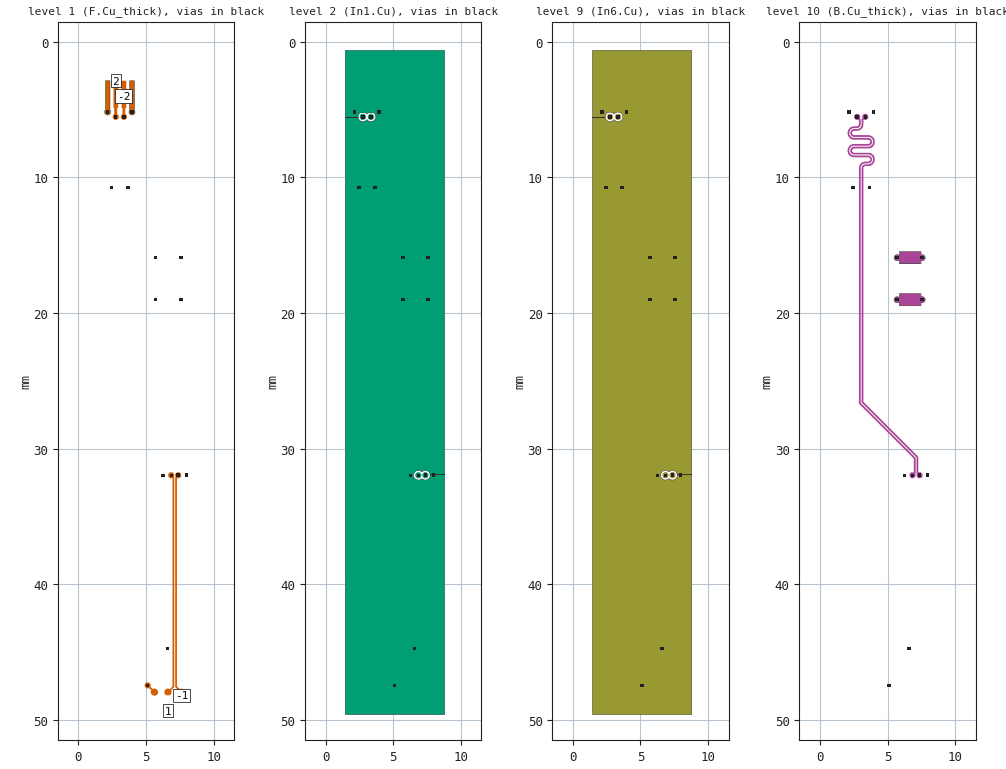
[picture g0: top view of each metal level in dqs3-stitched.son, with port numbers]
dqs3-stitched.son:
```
FTYP SONPROJ 19 ! Sonnet Project File
VER 18.52
HEADER
LIC antikernel2.1.51176
DAT 12/17/2021 13:26:47
BUILT_BY_CREATED dxf 18.52 12/14/2021 00:07:28
BUILT_BY_SAVED sonnet 18.52
MDATE 12/15/2021 14:07:33
HDATE 12/15/2021 14:07:33
ANN Created by dxfgeo, Sonnet Software Inc.
END HEADER
DIM
ANG DEG
CAP PF
CON /OH
FREQ GHZ
IND NH
LNG MM
RES OH
END DIM
CONTROL
VARSWP
OPTIONS  -dj
SPEED 1
CACHE_ABS 2
Q_ACC N
END CONTROL
GEO
TMET "Free Space" 0 FREESPACE 376.7303136 0 0 0
BMET "Free Space" 0 FREESPACE 376.7303136 0 0 0
MET "Copper_1oz_thin" 1 NOR 58000000 0.5 0.035 
MET "Copper_1oz_thick" 2 TMM 58000000 0.5 0.035 2
MET "Copper_0.5oz_thin" 4 NOR 58000000 0.5 0.017 
MET "Copper_0.5oz_thick" 12 TMM 58000000 0.5 0.017 2
MET "Copper_0.5oz_thick_down" 5 TMM 58000000 0.5 0.017 2 CDVY TDWN
MET "Copper_1oz_thick_down" 3 TMM 58000000 0.5 0.035 2 CDVY TDWN
BOX 12 10 50 800 4000 20 0
      5 1 1 0 0 0 0 "Air"
      0.04 3.5 1 0.025 0 0 0 "Soldermask"
      0.075 3.39 1 0.004 0 0 0 "Panasonic_R-5775(G)"
      0.068 3.56 1 0.004 0 0 0 "Panasonic_R-5670(G)"
      0.13 3.39 1 0.004 0 0 0 "Panasonic_R-5775(G)"
      0.092 3.56 1 0.004 0 0 0 "Panasonic_R-5670(G)"
      0.609 3.39 1 0.004 0 0 0 "Panasonic_R-5775(G)"
      0.092 3.56 1 0.004 0 0 0 "Panasonic_R-5670(G)"
      0.13 3.39 1 0.004 0 0 0 "Panasonic_R-5775(G)"
      0.068 3.56 1 0.004 0 0 0 "Panasonic_R-5670(G)"
      0.075 3.39 1 0.004 0 0 0 "Panasonic_R-5775(G)"
      0.04 3.5 1 0.025 0 0 0 "Soldermask"
      5 1 1 0 0 0 0 "Air"
TECHLAY METAL F.Cu_thick L1D0 -2 -65534 CAD F.Cu_thick drawing 
1 0 1 N 6583 1 1 100 100 0 0 0 Y
END
END
TECHLAY VIA Via1 L9D0 -13 -65534 CAD Via1 drawing 
VIA POLYGON
1 0 -1 N 6966 1 1 100 100 0 0 0 Y
TOLEVEL 10 RING NOCOVERS
END
END
TECHLAY METAL F.Cu_thin <UNSPECIFIED> -1 -65534 CAD F.Cu_thin drawing 
1 0 0 N 6587 1 1 100 100 0 0 0 Y
END
END
TECHLAY METAL In1.Cu L2D0 -3 -65534 CAD In1.Cu drawing 
2 0 0 N 6590 1 1 100 100 0 0 0 Y
END
END
TECHLAY METAL In2.Cu_thick L3D0 -5 -65534 CAD In2.Cu_thick drawing 
3 0 3 N 6593 1 1 100 100 0 0 0 Y
END
END
TECHLAY METAL In2.Cu_thin <UNSPECIFIED> -4 -65534 CAD In2.Cu drawing 
3 0 2 N 6595 1 1 100 100 0 0 0 Y
END
END
TECHLAY METAL In3.Cu L4D0 -6 -65534 CAD In3.Cu drawing 
4 0 0 N 6598 1 1 100 100 0 0 0 Y
END
END
TECHLAY METAL In4.Cu L5D0 -7 -65534 CAD In4.Cu drawing 
7 0 0 N 6603 1 1 100 100 0 0 0 Y
END
END
TECHLAY METAL In5.Cu_thick L6D0 -9 -65534 CAD In5.Cu_thick drawing 
8 0 4 N 6606 1 1 100 100 0 0 0 Y
END
END
TECHLAY METAL In5.Cu_thin <UNSPECIFIED> -8 -65534 CAD In5.Cu drawing 
8 0 2 N 6608 1 1 100 100 0 0 0 Y
END
END
TECHLAY METAL In6.Cu L7D0 -10 -65534 CAD In6.Cu drawing 
9 0 0 N 6611 1 1 100 100 0 0 0 Y
END
END
TECHLAY METAL B.Cu_thick L8D0 -12 -65534 CAD B.Cu_thick drawing 
10 0 5 N 6614 1 1 100 100 0 0 0 Y
END
END
TECHLAY METAL B.Cu_thin <UNSPECIFIED> -11 -65534 CAD B.Cu_thin drawing 
10 0 0 N 6616 1 1 100 100 0 0 0 Y
END
END
VALVAR CORE_ER NONE "table1(\"../../../../../ceph/fast/home/azonenberg/code/sata-sniffer/sims/core_er.csv\",FREQ)" "Variable set in material file"
VALVAR CORE_DF NONE "table1(\"../../../../../ceph/fast/home/azonenberg/code/sata-sniffer/sims/core_df.csv\",FREQ)" "Variable set in material file"
VALVAR PREPREG_DF NONE "table1(\"../../../../../ceph/fast/home/azonenberg/code/sata-sniffer/sims/prepreg_df.csv\",FREQ)" "Variable set in material file"
VALVAR PREPREG_ER NONE "table1(\"../../../../../ceph/fast/home/azonenberg/code/sata-sniffer/sims/prepreg_er.csv\",FREQ)" "Variable set in material file"
LORGN 0 50 U 
POR1 CUP Auto
GNDREF AUTO
TERMW FEED
POLY 87 1
30
2 80 0 0 0 2.752 2.868 
CUPGRP "Auto" LOCAL
ID 6962
END
POR1 CUP Auto
GNDREF AUTO
TERMW FEED
POLY 88 1
30
-2 80 0 0 0 3.352 2.868 
CUPGRP "Auto" LOCAL
ID 6963
END
POR1 CUP Auto
GNDREF AUTO
TERMW FEED
POLY 6874 1
124
-1 80 0 0 0 7.602 48.2 
CUPGRP "Auto" LOCAL
ID 6964
END
POR1 CUP Auto
GNDREF AUTO
TERMW FEED
POLY 6875 1
124
1 80 0 0 0 6.602 48.2 
CUPGRP "Auto" LOCAL
ID 6965
END
NUM 37
1 63 1 N 87 1 1 100 100 0 0 0 Y
TLAYNAM F.Cu_thick INH
USER_DAT FromImport
2.741 5.753
2.719 5.751
2.697 5.746
2.676 5.74
2.656 5.731
2.636 5.721
2.618 5.709
2.601 5.695
2.585 5.679
2.571 5.662
2.559 5.644
2.549 5.624
2.54 5.604
2.534 5.583
2.529 5.561
2.527 5.539
2.527 5.517
2.529 5.495
2.534 5.473
2.54 5.452
2.549 5.432
2.559 5.412
2.571 5.394
2.585 5.377
2.601 5.361
2.618 5.347
2.636 5.335
2.647 5.33
2.647 4.868
2.577 4.868
2.577 2.868
2.927 2.868
2.927 4.868
2.857 4.868
2.857 5.33
2.868 5.335
2.886 5.347
2.903 5.361
2.919 5.377
2.933 5.394
2.945 5.412
2.955 5.432
2.964 5.452
2.97 5.473
2.975 5.495
2.977 5.517
2.977 5.539
2.975 5.561
2.97 5.583
2.964 5.604
2.955 5.624
2.945 5.644
2.933 5.662
2.919 5.679
2.903 5.695
2.886 5.709
2.868 5.721
2.848 5.731
2.828 5.74
2.807 5.746
2.785 5.751
2.763 5.753
2.741 5.753
END
1 63 1 N 88 1 1 100 100 0 0 0 Y
TLAYNAM F.Cu_thick INH
USER_DAT FromImport
3.341 5.753
3.319 5.751
3.297 5.746
3.276 5.74
3.256 5.731
3.236 5.721
3.218 5.709
3.201 5.695
3.185 5.679
3.171 5.662
3.159 5.644
3.149 5.624
3.14 5.604
3.134 5.583
3.129 5.561
3.127 5.539
3.127 5.517
3.129 5.495
3.134 5.473
3.14 5.452
3.149 5.432
3.159 5.412
3.171 5.394
3.185 5.377
3.201 5.361
3.218 5.347
3.236 5.335
3.247 5.33
3.247 4.868
3.177 4.868
3.177 2.868
3.527 2.868
3.527 4.868
3.457 4.868
3.457 5.33
3.468 5.335
3.486 5.347
3.503 5.361
3.519 5.377
3.533 5.394
3.545 5.412
3.555 5.432
3.564 5.452
3.57 5.473
3.575 5.495
3.577 5.517
3.577 5.539
3.575 5.561
3.57 5.583
3.564 5.604
3.555 5.624
3.545 5.644
3.533 5.662
3.519 5.679
3.503 5.695
3.486 5.709
3.468 5.721
3.448 5.731
3.428 5.74
3.407 5.746
3.385 5.751
3.363 5.753
3.341 5.753
END
1 121 1 N 231 1 1 100 100 0 0 0 Y
TLAYNAM F.Cu_thick INH
USER_DAT FromImport
5.589 48.233
5.563 48.23
5.538 48.225
5.513 48.218
5.489 48.208
5.466 48.195
5.444 48.181
5.424 48.164
5.406 48.146
5.389 48.126
5.375 48.104
5.362 48.081
5.352 48.057
5.345 48.032
5.34 48.007
5.337 47.981
5.337 47.955
5.34 47.929
5.345 47.904
5.352 47.879
5.362 47.855
5.372 47.837
5.203 47.668
5.198 47.671
5.178 47.68
5.157 47.686
5.135 47.691
5.113 47.693
5.091 47.693
5.069 47.691
5.047 47.686
5.026 47.68
5.006 47.671
4.986 47.661
4.968 47.649
4.951 47.635
4.935 47.619
4.921 47.602
4.909 47.584
4.899 47.564
4.89 47.544
4.884 47.523
4.879 47.501
4.877 47.479
4.877 47.457
4.879 47.435
4.884 47.413
4.89 47.392
4.899 47.372
4.909 47.352
4.921 47.334
4.935 47.317
4.951 47.301
4.968 47.287
4.986 47.275
5.006 47.265
5.026 47.256
5.047 47.25
5.069 47.245
5.091 47.243
5.113 47.243
5.135 47.245
5.157 47.25
5.178 47.256
5.198 47.265
5.218 47.275
5.236 47.287
5.253 47.301
5.269 47.317
5.283 47.334
5.295 47.352
5.305 47.372
5.314 47.392
5.32 47.413
5.325 47.435
5.327 47.457
5.327 47.479
5.325 47.501
5.32 47.523
5.314 47.544
5.305 47.564
5.302 47.569
5.471 47.738
5.489 47.728
5.513 47.718
5.538 47.711
5.563 47.706
5.589 47.703
5.615 47.703
5.641 47.706
5.666 47.711
5.691 47.718
5.715 47.728
5.738 47.741
5.76 47.755
5.78 47.772
5.798 47.79
5.815 47.81
5.829 47.832
5.842 47.855
5.852 47.879
5.859 47.904
5.864 47.929
5.867 47.955
5.867 47.981
5.864 48.007
5.859 48.032
5.852 48.057
5.842 48.081
5.829 48.104
5.815 48.126
5.798 48.146
5.78 48.164
5.76 48.181
5.738 48.195
5.715 48.208
5.691 48.218
5.666 48.225
5.641 48.23
5.615 48.233
5.589 48.233
END
1 127 1 V 6874 1 1 100 100 0 0 0 Y
TLAYNAM F.Cu_thick NOH
USER_DAT FromImport
7.738 48.195
7.76 48.181
7.78 48.164
7.798 48.146
7.815 48.126
7.829 48.104
7.842 48.081
7.852 48.057
7.859 48.032
7.864 48.007
7.867 47.981
7.867 47.955
7.864 47.929
7.859 47.904
7.852 47.879
7.842 47.855
7.829 47.832
7.815 47.81
7.798 47.79
7.78 47.772
7.76 47.755
7.738 47.741
7.715 47.728
7.691 47.718
7.666 47.711
7.641 47.706
7.615 47.703
7.589 47.703
7.563 47.706
7.538 47.711
7.513 47.718
7.489 47.728
7.467 47.741
7.267 47.541
7.267 32.171
7.286 32.18
7.307 32.186
7.329 32.191
7.351 32.193
7.373 32.193
7.395 32.191
7.417 32.186
7.438 32.18
7.458 32.171
7.478 32.161
7.496 32.149
7.513 32.135
7.529 32.119
7.543 32.102
7.555 32.084
7.565 32.064
7.574 32.044
7.58 32.023
7.585 32.001
7.587 31.979
7.587 31.957
7.585 31.935
7.58 31.913
7.574 31.892
7.565 31.872
7.555 31.852
7.543 31.834
7.529 31.817
7.513 31.801
7.496 31.787
7.478 31.775
7.458 31.765
7.438 31.756
7.417 31.75
7.395 31.745
7.373 31.743
7.351 31.743
7.329 31.745
7.307 31.75
7.286 31.756
7.266 31.765
7.246 31.775
7.228 31.787
7.211 31.801
7.195 31.817
7.181 31.834
7.169 31.852
7.159 31.872
7.15 31.892
7.144 31.913
7.139 31.935
7.137 31.957
7.137 31.979
7.139 32.001
7.144 32.023
7.15 32.044
7.159 32.064
7.164 32.074
7.154 32.084
7.15 32.089
7.146 32.095
7.143 32.1
7.139 32.112
7.138 32.118
7.137 32.125
7.137 47.571
7.138 47.578
7.139 47.584
7.143 47.596
7.146 47.601
7.15 47.607
7.154 47.612
7.375 47.833
7.362 47.855
7.352 47.879
7.345 47.904
7.34 47.929
7.337 47.955
7.337 47.981
7.34 48.007
7.345 48.032
7.352 48.057
7.362 48.081
7.375 48.104
7.389 48.126
7.406 48.146
7.424 48.164
7.444 48.181
7.466 48.195
7.474846154 48.2
7.729153846 48.2
7.738 48.195
END
1 127 1 V 6875 1 1 100 100 0 0 0 Y
TLAYNAM F.Cu_thick NOH
USER_DAT FromImport
6.738 48.195
6.76 48.181
6.78 48.164
6.798 48.146
6.815 48.126
6.829 48.104
6.842 48.081
6.852 48.057
6.859 48.032
6.864 48.007
6.867 47.981
6.867 47.955
6.864 47.929
6.859 47.904
6.852 47.879
6.842 47.855
6.829 47.833
7.05 47.612
7.054 47.607
7.058 47.601
7.061 47.596
7.065 47.584
7.066 47.578
7.067 47.571
7.067 32.125
7.066 32.118
7.065 32.112
7.061 32.1
7.058 32.095
7.054 32.089
7.05 32.084
7.04 32.074
7.045 32.064
7.054 32.044
7.06 32.023
7.065 32.001
7.067 31.979
7.067 31.957
7.065 31.935
7.06 31.913
7.054 31.892
7.045 31.872
7.035 31.852
7.023 31.834
7.009 31.817
6.993 31.801
6.976 31.787
6.958 31.775
6.938 31.765
6.918 31.756
6.897 31.75
6.875 31.745
6.853 31.743
6.831 31.743
6.809 31.745
6.787 31.75
6.766 31.756
6.746 31.765
6.726 31.775
6.708 31.787
6.691 31.801
6.675 31.817
6.661 31.834
6.649 31.852
6.639 31.872
6.63 31.892
6.624 31.913
6.619 31.935
6.617 31.957
6.617 31.979
6.619 32.001
6.624 32.023
6.63 32.044
6.639 32.064
6.649 32.084
6.661 32.102
6.675 32.119
6.691 32.135
6.708 32.149
6.726 32.161
6.746 32.171
6.766 32.18
6.787 32.186
6.809 32.191
6.831 32.193
6.853 32.193
6.875 32.191
6.897 32.186
6.918 32.18
6.937 32.171
6.937 47.541
6.737 47.741
6.715 47.728
6.691 47.718
6.666 47.711
6.641 47.706
6.615 47.703
6.589 47.703
6.563 47.706
6.538 47.711
6.513 47.718
6.489 47.728
6.466 47.741
6.444 47.755
6.424 47.772
6.406 47.79
6.389 47.81
6.375 47.832
6.362 47.855
6.352 47.879
6.345 47.904
6.34 47.929
6.337 47.955
6.337 47.981
6.34 48.007
6.345 48.032
6.352 48.057
6.362 48.081
6.375 48.104
6.389 48.126
6.406 48.146
6.424 48.164
6.444 48.181
6.466 48.195
6.474846154 48.2
6.729153846 48.2
6.738 48.195
END
1 54 1 N 6914 1 1 100 100 0 0 0 Y
TLAYNAM F.Cu_thick INH
2.185 5.391
2.207 5.386
2.228 5.38
2.248 5.371
2.268 5.361
2.286 5.349
2.303 5.335
2.319 5.319
2.333 5.302
2.345 5.284
2.355 5.264
2.364 5.244
2.37 5.223
2.375 5.201
2.377 5.179
2.377 5.157
2.375 5.135
2.37 5.113
2.364 5.092
2.355 5.072
2.345 5.052
2.333 5.034
2.325 5.024285714
2.325 4.868
2.327 4.868
2.327 2.868
1.977 2.868
1.977 4.868
1.977 5.026714286
1.971 5.034
1.959 5.052
1.949 5.072
1.94 5.092
1.934 5.113
1.929 5.135
1.927 5.157
1.927 5.179
1.929 5.201
1.934 5.223
1.94 5.244
1.949 5.264
1.959 5.284
1.971 5.302
1.985 5.319
2.001 5.335
2.018 5.349
2.036 5.361
2.056 5.371
2.076 5.38
2.097 5.386
2.119 5.391
2.141 5.393
2.163 5.393
2.185 5.391
END
1 55 1 N 6916 1 1 100 100 0 0 0 Y
TLAYNAM F.Cu_thick INH
USER_DAT FromImport
3.985 5.391
4.007 5.386
4.028 5.38
4.048 5.371
4.068 5.361
4.086 5.349
4.103 5.335
4.119 5.319
4.133 5.302
4.145 5.284
4.155 5.264
4.164 5.244
4.17 5.223
4.175 5.201
4.177 5.179
4.177 5.157
4.175 5.135
4.17 5.113
4.164 5.092
4.155 5.072
4.145 5.052
4.133 5.034
4.125 5.024285714
4.125 4.868
4.127 4.868
4.127 2.868
3.777 2.868
3.777 4.775
3.775 4.775
3.775 5.029142857
3.771 5.034
3.759 5.052
3.749 5.072
3.74 5.092
3.734 5.113
3.729 5.135
3.727 5.157
3.727 5.179
3.729 5.201
3.734 5.223
3.74 5.244
3.749 5.264
3.759 5.284
3.771 5.302
3.785 5.319
3.801 5.335
3.818 5.349
3.836 5.361
3.856 5.371
3.876 5.38
3.897 5.386
3.919 5.391
3.941 5.393
3.963 5.393
3.985 5.391
END
VIA POLYGON
1 5 -1 N 5991 1 1 100 100 0 0 0 Y
TOLEVEL 10 RING NOCOVERS
TLAYNAM Via1 INH
USER_DAT FromImport
5.577 19.143
5.577 18.893
5.827 18.893
5.827 19.143
5.577 19.143
END
VIA POLYGON
1 5 -1 N 5992 1 1 100 100 0 0 0 Y
TOLEVEL 10 RING NOCOVERS
TLAYNAM Via1 INH
USER_DAT FromImport
7.427 19.143
7.427 18.893
7.677 18.893
7.677 19.143
7.427 19.143
END
VIA POLYGON
1 5 -1 N 5994 1 1 100 100 0 0 0 Y
TOLEVEL 10 RING NOCOVERS
TLAYNAM Via1 INH
USER_DAT FromImport
5.577 16.043
5.577 15.793
5.827 15.793
5.827 16.043
5.577 16.043
END
VIA POLYGON
1 5 -1 N 5995 1 1 100 100 0 0 0 Y
TOLEVEL 10 RING NOCOVERS
TLAYNAM Via1 INH
USER_DAT FromImport
7.427 16.043
7.427 15.793
7.677 15.793
7.677 16.043
7.427 16.043
END
VIA POLYGON
1 5 -1 N 6011 1 1 100 100 0 0 0 Y
TOLEVEL 10 RING NOCOVERS
TLAYNAM Via1 INH
USER_DAT FromImport
2.327 10.843
2.327 10.593
2.577 10.593
2.577 10.843
2.327 10.843
END
VIA POLYGON
1 5 -1 N 6012 1 1 100 100 0 0 0 Y
TOLEVEL 10 RING NOCOVERS
TLAYNAM Via1 INH
USER_DAT FromImport
3.527 10.843
3.527 10.593
3.777 10.593
3.777 10.843
3.527 10.843
END
VIA POLYGON
1 5 -1 N 6039 1 1 100 100 0 0 0 Y
TOLEVEL 10 RING NOCOVERS
TLAYNAM Via1 INH
USER_DAT FromImport
2.627 5.653
2.627 5.403
2.877 5.403
2.877 5.653
2.627 5.653
END
VIA POLYGON
1 5 -1 N 6040 1 1 100 100 0 0 0 Y
TOLEVEL 10 RING NOCOVERS
TLAYNAM Via1 INH
USER_DAT FromImport
3.227 5.653
3.227 5.403
3.477 5.403
3.477 5.653
3.227 5.653
END
VIA POLYGON
1 5 -1 N 6049 1 1 100 100 0 0 0 Y
TOLEVEL 10 RING NOCOVERS
TLAYNAM Via1 INH
USER_DAT FromImport
2.027 5.293
2.027 5.043
2.277 5.043
2.277 5.293
2.027 5.293
END
VIA POLYGON
1 5 -1 N 6050 1 1 100 100 0 0 0 Y
TOLEVEL 10 RING NOCOVERS
TLAYNAM Via1 INH
USER_DAT FromImport
3.827 5.293
3.827 5.043
4.077 5.043
4.077 5.293
3.827 5.293
END
VIA POLYGON
1 5 -1 N 6158 1 1 100 100 0 0 0 Y
TOLEVEL 10 RING NOCOVERS
TLAYNAM Via1 INH
USER_DAT FromImport
6.717 32.093
6.717 31.843
6.967 31.843
6.967 32.093
6.717 32.093
END
VIA POLYGON
1 5 -1 N 6159 1 1 100 100 0 0 0 Y
TOLEVEL 10 RING NOCOVERS
TLAYNAM Via1 INH
USER_DAT FromImport
7.837 32.068
7.837 31.818
8.087 31.818
8.087 32.068
7.837 32.068
END
VIA POLYGON
1 5 -1 N 6188 1 1 100 100 0 0 0 Y
TOLEVEL 10 RING NOCOVERS
TLAYNAM Via1 INH
USER_DAT FromImport
4.977 47.593
4.977 47.343
5.227 47.343
5.227 47.593
4.977 47.593
END
VIA POLYGON
1 5 -1 N 6876 1 1 100 100 0 0 0 Y
TOLEVEL 10 RING NOCOVERS
TLAYNAM Via1 INH
USER_DAT FromImport
6.45 44.875
6.45 44.625
6.7 44.625
6.7 44.875
6.45 44.875
END
VIA POLYGON
1 5 -1 N 6971 1 1 100 100 0 0 0 Y
TOLEVEL 10 RING NOCOVERS
TLAYNAM Via1 INH
USER_DAT FromImport
7.225 32.075
7.225 31.825
7.475 31.825
7.475 32.075
7.225 32.075
END
VIA POLYGON
1 5 -1 N 6972 1 1 100 100 0 0 0 Y
TOLEVEL 10 RING NOCOVERS
TLAYNAM Via1 INH
USER_DAT FromImport
6.125 32.1
6.125 31.85
6.375 31.85
6.375 32.1
6.125 32.1
END
2 65 0 N 1463 1 1 100 100 0 0 0 Y
TLAYNAM In1.Cu INH
USER_DAT FromImport
6.831 32.193
6.809 32.191
6.787 32.186
6.766 32.18
6.746 32.171
6.726 32.161
6.708 32.149
6.691 32.135
6.675 32.119
6.661 32.102
6.649 32.084
6.639 32.064
6.63 32.044
6.624 32.023
6.619 32.001
6.617 31.979
6.617 31.957
6.619 31.935
6.624 31.913
6.63 31.892
6.639 31.872
6.649 31.852
6.661 31.834
6.675 31.817
6.691 31.801
6.708 31.787
6.726 31.775
6.746 31.765
6.766 31.756
6.787 31.75
6.809 31.745
6.831 31.743
6.853 31.743
6.875 31.745
6.897 31.75
6.918 31.756
6.938 31.765
6.958 31.775
6.976 31.787
6.993 31.801
7.009 31.817
7.023 31.834
7.035 31.852
7.045 31.872
7.054 31.892
7.06 31.913
7.065 31.935
7.067 31.957
7.067 31.979
7.065 32.001
7.06 32.023
7.054 32.044
7.045 32.064
7.035 32.084
7.023 32.102
7.009 32.119
6.993 32.135
6.976 32.149
6.958 32.161
6.938 32.171
6.918 32.18
6.897 32.186
6.875 32.191
6.853 32.193
6.831 32.193
END
2 65 0 N 1464 1 1 100 100 0 0 0 Y
TLAYNAM In1.Cu INH
USER_DAT FromImport
7.351 32.193
7.329 32.191
7.307 32.186
7.286 32.18
7.266 32.171
7.246 32.161
7.228 32.149
7.211 32.135
7.195 32.119
7.181 32.102
7.169 32.084
7.159 32.064
7.15 32.044
7.144 32.023
7.139 32.001
7.137 31.979
7.137 31.957
7.139 31.935
7.144 31.913
7.15 31.892
7.159 31.872
7.169 31.852
7.181 31.834
7.195 31.817
7.211 31.801
7.228 31.787
7.246 31.775
7.266 31.765
7.286 31.756
7.307 31.75
7.329 31.745
7.351 31.743
7.373 31.743
7.395 31.745
7.417 31.75
7.438 31.756
7.458 31.765
7.478 31.775
7.496 31.787
7.513 31.801
7.529 31.817
7.543 31.834
7.555 31.852
7.565 31.872
7.574 31.892
7.58 31.913
7.585 31.935
7.587 31.957
7.587 31.979
7.585 32.001
7.58 32.023
7.574 32.044
7.565 32.064
7.555 32.084
7.543 32.102
7.529 32.119
7.513 32.135
7.496 32.149
7.478 32.161
7.458 32.171
7.438 32.18
7.417 32.186
7.395 32.191
7.373 32.193
7.351 32.193
END
2 65 0 N 1519 1 1 100 100 0 0 0 Y
TLAYNAM In1.Cu INH
USER_DAT FromImport
2.741 5.753
2.719 5.751
2.697 5.746
2.676 5.74
2.656 5.731
2.636 5.721
2.618 5.709
2.601 5.695
2.585 5.679
2.571 5.662
2.559 5.644
2.549 5.624
2.54 5.604
2.534 5.583
2.529 5.561
2.527 5.539
2.527 5.517
2.529 5.495
2.534 5.473
2.54 5.452
2.549 5.432
2.559 5.412
2.571 5.394
2.585 5.377
2.601 5.361
2.618 5.347
2.636 5.335
2.656 5.325
2.676 5.316
2.697 5.31
2.719 5.305
2.741 5.303
2.763 5.303
2.785 5.305
2.807 5.31
2.828 5.316
2.848 5.325
2.868 5.335
2.886 5.347
2.903 5.361
2.919 5.377
2.933 5.394
2.945 5.412
2.955 5.432
2.964 5.452
2.97 5.473
2.975 5.495
2.977 5.517
2.977 5.539
2.975 5.561
2.97 5.583
2.964 5.604
2.955 5.624
2.945 5.644
2.933 5.662
2.919 5.679
2.903 5.695
2.886 5.709
2.868 5.721
2.848 5.731
2.828 5.74
2.807 5.746
2.785 5.751
2.763 5.753
2.741 5.753
END
2 65 0 N 1520 1 1 100 100 0 0 0 Y
TLAYNAM In1.Cu INH
USER_DAT FromImport
3.341 5.753
3.319 5.751
3.297 5.746
3.276 5.74
3.256 5.731
3.236 5.721
3.218 5.709
3.201 5.695
3.185 5.679
3.171 5.662
3.159 5.644
3.149 5.624
3.14 5.604
3.134 5.583
3.129 5.561
3.127 5.539
3.127 5.517
3.129 5.495
3.134 5.473
3.14 5.452
3.149 5.432
3.159 5.412
3.171 5.394
3.185 5.377
3.201 5.361
3.218 5.347
3.236 5.335
3.256 5.325
3.276 5.316
3.297 5.31
3.319 5.305
3.341 5.303
3.363 5.303
3.385 5.305
3.407 5.31
3.428 5.316
3.448 5.325
3.468 5.335
3.486 5.347
3.503 5.361
3.519 5.377
3.533 5.394
3.545 5.412
3.555 5.432
3.564 5.452
3.57 5.473
3.575 5.495
3.577 5.517
3.577 5.539
3.575 5.561
3.57 5.583
3.564 5.604
3.555 5.624
3.545 5.644
3.533 5.662
3.519 5.679
3.503 5.695
3.486 5.709
3.468 5.721
3.448 5.731
3.428 5.74
3.407 5.746
3.385 5.751
3.363 5.753
3.341 5.753
END
2 178 0 N 6881 1 1 100 100 0 0 0 Y
TLAYNAM In1.Cu INH
USER_DAT FromImport
8.7835 0.6245
1.4585 0.6245
1.4585 5.56
2.402 5.56
2.402 5.49
2.415 5.429
2.445 5.357
2.445 5.356
2.48 5.305
2.526 5.259
2.565 5.233
2.941 5.233
2.975 5.256
3.018 5.299
3.026 5.305
3.031 5.307
3.035 5.309
3.04 5.311
3.045 5.312
3.059 5.312
3.064 5.311
3.069 5.309
3.073 5.307
3.078 5.305
3.086 5.299
3.126 5.259
3.165 5.233
3.541 5.233
3.575 5.256
3.621 5.302
3.666 5.368
3.666 5.369
3.687 5.419
3.687 5.421
3.702 5.496
3.702 5.566
3.689 5.627
3.659 5.699
3.659 5.7
3.624 5.751
3.578 5.797
3.512 5.842
3.511 5.842
3.461 5.863
3.459 5.863
3.384 5.878
3.314 5.878
3.253 5.865
3.181 5.835
3.18 5.835
3.129 5.8
3.086 5.757
3.078 5.751
3.073 5.749
3.069 5.747
3.064 5.745
3.059 5.744
3.045 5.744
3.04 5.745
3.035 5.747
3.031 5.749
3.026 5.751
3.018 5.757
2.978 5.797
2.912 5.842
2.911 5.842
2.861 5.863
2.859 5.863
2.784 5.878
2.714 5.878
2.653 5.865
2.581 5.835
2.58 5.835
2.529 5.8
2.483 5.754
2.438 5.688
2.438 5.687
2.417 5.637
2.417 5.635
2.402 5.56
1.4585 5.56
1.4585 5.56
1.4585 49.6245
8.7835 49.6245
8.7835 31.936
7.712 31.936
7.712 32.006
7.699 32.067
7.669 32.139
7.669 32.14
7.634 32.191
7.588 32.237
7.522 32.282
7.521 32.282
7.471 32.303
7.469 32.303
7.394 32.318
7.324 32.318
7.263 32.305
7.191 32.275
7.19 32.275
7.139 32.24
7.136 32.237
7.128 32.231
7.123 32.229
7.119 32.227
7.114 32.225
7.109 32.224
7.095 32.224
7.09 32.225
7.085 32.227
7.081 32.229
7.076 32.231
7.068 32.237
7.002 32.282
7.001 32.282
6.951 32.303
6.949 32.303
6.874 32.318
6.804 32.318
6.743 32.305
6.671 32.275
6.67 32.275
6.619 32.24
6.573 32.194
6.528 32.128
6.528 32.127
6.507 32.077
6.507 32.075
6.492 32
6.492 31.93
6.505 31.869
6.535 31.797
6.535 31.796
6.57 31.745
6.616 31.699
6.682 31.654
6.683 31.654
6.733 31.633
6.735 31.633
6.81 31.618
6.88 31.618
6.941 31.631
7.013 31.661
7.014 31.661
7.065 31.696
7.068 31.699
7.076 31.705
7.081 31.707
7.085 31.709
7.09 31.711
7.095 31.712
7.109 31.712
7.114 31.711
7.119 31.709
7.123 31.707
7.128 31.705
7.136 31.699
7.202 31.654
7.203 31.654
7.253 31.633
7.255 31.633
7.33 31.618
7.4 31.618
7.461 31.631
7.533 31.661
7.534 31.661
7.585 31.696
7.631 31.742
7.674 31.805
7.675 31.807
7.676 31.808
7.676 31.809
7.697 31.859
7.697 31.861
7.712 31.936
8.7835 31.936
8.7835 0.6245
END
9 65 0 N 5536 1 1 100 100 0 0 0 Y
TLAYNAM In6.Cu INH
USER_DAT FromImport
6.831 32.193
6.809 32.191
6.787 32.186
6.766 32.18
6.746 32.171
6.726 32.161
6.708 32.149
6.691 32.135
6.675 32.119
6.661 32.102
6.649 32.084
6.639 32.064
6.63 32.044
6.624 32.023
6.619 32.001
6.617 31.979
6.617 31.957
6.619 31.935
6.624 31.913
6.63 31.892
6.639 31.872
6.649 31.852
6.661 31.834
6.675 31.817
6.691 31.801
6.708 31.787
6.726 31.775
6.746 31.765
6.766 31.756
6.787 31.75
6.809 31.745
6.831 31.743
6.853 31.743
6.875 31.745
6.897 31.75
6.918 31.756
6.938 31.765
6.958 31.775
6.976 31.787
6.993 31.801
7.009 31.817
7.023 31.834
7.035 31.852
7.045 31.872
7.054 31.892
7.06 31.913
7.065 31.935
7.067 31.957
7.067 31.979
7.065 32.001
7.06 32.023
7.054 32.044
7.045 32.064
7.035 32.084
7.023 32.102
7.009 32.119
6.993 32.135
6.976 32.149
6.958 32.161
6.938 32.171
6.918 32.18
6.897 32.186
6.875 32.191
6.853 32.193
6.831 32.193
END
9 65 0 N 5537 1 1 100 100 0 0 0 Y
TLAYNAM In6.Cu INH
USER_DAT FromImport
7.351 32.193
7.329 32.191
7.307 32.186
7.286 32.18
7.266 32.171
7.246 32.161
7.228 32.149
7.211 32.135
7.195 32.119
7.181 32.102
7.169 32.084
7.159 32.064
7.15 32.044
7.144 32.023
7.139 32.001
7.137 31.979
7.137 31.957
7.139 31.935
7.144 31.913
7.15 31.892
7.159 31.872
7.169 31.852
7.181 31.834
7.195 31.817
7.211 31.801
7.228 31.787
7.246 31.775
7.266 31.765
7.286 31.756
7.307 31.75
7.329 31.745
7.351 31.743
7.373 31.743
7.395 31.745
7.417 31.75
7.438 31.756
7.458 31.765
7.478 31.775
7.496 31.787
7.513 31.801
7.529 31.817
7.543 31.834
7.555 31.852
7.565 31.872
7.574 31.892
7.58 31.913
7.585 31.935
7.587 31.957
7.587 31.979
7.585 32.001
7.58 32.023
7.574 32.044
7.565 32.064
7.555 32.084
7.543 32.102
7.529 32.119
7.513 32.135
7.496 32.149
7.478 32.161
7.458 32.171
7.438 32.18
7.417 32.186
7.395 32.191
7.373 32.193
7.351 32.193
END
9 65 0 N 5592 1 1 100 100 0 0 0 Y
TLAYNAM In6.Cu INH
USER_DAT FromImport
2.741 5.753
2.719 5.751
2.697 5.746
2.676 5.74
2.656 5.731
2.636 5.721
2.618 5.709
2.601 5.695
2.585 5.679
2.571 5.662
2.559 5.644
2.549 5.624
2.54 5.604
2.534 5.583
2.529 5.561
2.527 5.539
2.527 5.517
2.529 5.495
2.534 5.473
2.54 5.452
2.549 5.432
2.559 5.412
2.571 5.394
2.585 5.377
2.601 5.361
2.618 5.347
2.636 5.335
2.656 5.325
2.676 5.316
2.697 5.31
2.719 5.305
2.741 5.303
2.763 5.303
2.785 5.305
2.807 5.31
2.828 5.316
2.848 5.325
2.868 5.335
2.886 5.347
2.903 5.361
2.919 5.377
2.933 5.394
2.945 5.412
2.955 5.432
2.964 5.452
2.97 5.473
2.975 5.495
2.977 5.517
2.977 5.539
2.975 5.561
2.97 5.583
2.964 5.604
2.955 5.624
2.945 5.644
2.933 5.662
2.919 5.679
2.903 5.695
2.886 5.709
2.868 5.721
2.848 5.731
2.828 5.74
2.807 5.746
2.785 5.751
2.763 5.753
2.741 5.753
END
9 65 0 N 5593 1 1 100 100 0 0 0 Y
TLAYNAM In6.Cu INH
USER_DAT FromImport
3.341 5.753
3.319 5.751
3.297 5.746
3.276 5.74
3.256 5.731
3.236 5.721
3.218 5.709
3.201 5.695
3.185 5.679
3.171 5.662
3.159 5.644
3.149 5.624
3.14 5.604
3.134 5.583
3.129 5.561
3.127 5.539
3.127 5.517
3.129 5.495
3.134 5.473
3.14 5.452
3.149 5.432
3.159 5.412
3.171 5.394
3.185 5.377
3.201 5.361
3.218 5.347
3.236 5.335
3.256 5.325
3.276 5.316
3.297 5.31
3.319 5.305
3.341 5.303
3.363 5.303
3.385 5.305
3.407 5.31
3.428 5.316
3.448 5.325
3.468 5.335
3.486 5.347
3.503 5.361
3.519 5.377
3.533 5.394
3.545 5.412
3.555 5.432
3.564 5.452
3.57 5.473
3.575 5.495
3.577 5.517
3.577 5.539
3.575 5.561
3.57 5.583
3.564 5.604
3.555 5.624
3.545 5.644
3.533 5.662
3.519 5.679
3.503 5.695
3.486 5.709
3.468 5.721
3.448 5.731
3.428 5.74
3.407 5.746
3.385 5.751
3.363 5.753
3.341 5.753
END
9 192 0 N 6879 1 1 100 100 0 0 0 Y
TLAYNAM In6.Cu INH
USER_DAT FromImport
8.7835 0.6245
1.4585 0.6245
1.4585 5.56
2.402 5.56
2.402 5.49
2.415 5.429
2.445 5.357
2.445 5.356
2.48 5.305
2.526 5.259
2.592 5.214
2.593 5.214
2.643 5.193
2.645 5.193
2.72 5.178
2.79 5.178
2.851 5.191
2.923 5.221
2.924 5.221
2.975 5.256
3.018 5.299
3.026 5.305
3.031 5.307
3.035 5.309
3.04 5.311
3.045 5.312
3.059 5.312
3.064 5.311
3.069 5.309
3.073 5.307
3.078 5.305
3.086 5.299
3.126 5.259
3.192 5.214
3.193 5.214
3.243 5.193
3.245 5.193
3.32 5.178
3.39 5.178
3.451 5.191
3.523 5.221
3.524 5.221
3.575 5.256
3.621 5.302
3.666 5.368
3.666 5.369
3.687 5.419
3.687 5.421
3.702 5.496
3.702 5.566
3.689 5.627
3.659 5.699
3.659 5.7
3.624 5.751
3.578 5.797
3.512 5.842
3.511 5.842
3.461 5.863
3.459 5.863
3.384 5.878
3.314 5.878
3.253 5.865
3.181 5.835
3.18 5.835
3.129 5.8
3.086 5.757
3.078 5.751
3.073 5.749
3.069 5.747
3.064 5.745
3.059 5.744
3.045 5.744
3.04 5.745
3.035 5.747
3.031 5.749
3.026 5.751
3.018 5.757
2.978 5.797
2.912 5.842
2.911 5.842
2.861 5.863
2.859 5.863
2.784 5.878
2.714 5.878
2.653 5.865
2.581 5.835
2.58 5.835
2.529 5.8
2.483 5.754
2.438 5.688
2.438 5.687
2.417 5.637
2.417 5.635
2.402 5.56
1.4585 5.56
1.4585 5.56
1.4585 49.6245
8.7835 49.6245
8.7835 31.936
7.712 31.936
7.712 32.006
7.699 32.067
7.669 32.139
7.669 32.14
7.634 32.191
7.588 32.237
7.522 32.282
7.521 32.282
7.471 32.303
7.469 32.303
7.394 32.318
7.324 32.318
7.263 32.305
7.191 32.275
7.19 32.275
7.139 32.24
7.136 32.237
7.128 32.231
7.123 32.229
7.119 32.227
7.114 32.225
7.109 32.224
7.095 32.224
7.09 32.225
7.085 32.227
7.081 32.229
7.076 32.231
7.068 32.237
7.002 32.282
7.001 32.282
6.951 32.303
6.949 32.303
6.874 32.318
6.804 32.318
6.743 32.305
6.671 32.275
6.67 32.275
6.619 32.24
6.573 32.194
6.528 32.128
6.528 32.127
6.507 32.077
6.507 32.075
6.492 32
6.492 31.93
6.505 31.869
6.535 31.797
6.535 31.796
6.57 31.745
6.616 31.699
6.682 31.654
6.683 31.654
6.733 31.633
6.735 31.633
6.81 31.618
6.88 31.618
6.941 31.631
7.013 31.661
7.014 31.661
7.065 31.696
7.068 31.699
7.076 31.705
7.081 31.707
7.085 31.709
7.09 31.711
7.095 31.712
7.109 31.712
7.114 31.711
7.119 31.709
7.123 31.707
7.128 31.705
7.136 31.699
7.202 31.654
7.203 31.654
7.253 31.633
7.255 31.633
7.33 31.618
7.4 31.618
7.461 31.631
7.533 31.661
7.534 31.661
7.585 31.696
7.631 31.742
7.674 31.805
7.675 31.807
7.676 31.808
7.676 31.809
7.697 31.859
7.697 31.861
7.712 31.936
8.7835 31.936
8.7835 0.6245
END
10 556 5 V 5758 1 1 100 100 0 0 0 Y
TLAYNAM B.Cu_thick NOH
USER_DAT FromImport
6.831 32.193
6.809 32.191
6.787 32.186
6.766 32.18
6.746 32.171
6.726 32.161
6.708 32.149
6.691 32.135
6.675 32.119
6.661 32.102
6.649 32.084
6.639 32.064
6.63 32.044
6.624 32.023
6.619 32.001
6.617 31.979
6.617 31.957
6.619 31.935
6.624 31.913
6.63 31.892
6.639 31.872
6.649 31.852
6.661 31.834
6.675 31.817
6.691 31.801
6.708 31.787
6.726 31.775
6.746 31.765
6.766 31.756
6.787 31.75
6.809 31.745
6.831 31.743
6.853 31.743
6.875 31.745
6.897 31.75
6.918 31.756
6.937 31.765
6.937 30.736
2.904 26.703
2.9 26.698
2.896 26.692
2.893 26.687
2.889 26.675
2.888 26.669
2.887 26.662
2.887 9.289
2.898 9.194
2.898 9.191
2.899 9.187
2.901 9.181
2.904 9.176
2.904 9.175
2.928 9.108
2.929 9.1
2.935 9.088
2.938 9.084
2.941 9.079
2.981 9.016
2.984 9.011
2.984 9.01
2.987 9.005
2.991 9
3.059 8.932
3.064 8.928
3.07 8.924
3.075 8.921
3.076 8.921
3.136 8.883
3.137 8.882
3.143 8.878
3.148 8.875
3.154 8.872
3.234 8.845
3.24 8.842
3.246 8.84
3.25 8.839
3.251 8.839
3.257 8.838
3.261 8.838
3.343 8.829
3.348 8.828
3.553 8.828
3.601 8.823
3.63 8.813
3.664 8.792
3.687 8.769
3.707 8.738
3.719 8.705
3.723 8.672
3.719 8.634
3.708 8.6
3.688 8.568
3.664 8.544
3.635 8.525
3.601 8.513
3.562 8.508
2.512 8.508
2.506 8.507
2.427 8.498
2.421 8.497
2.414 8.497
2.412 8.496
2.41 8.496
2.401 8.493
2.398 8.491
2.33 8.467
2.322 8.466
2.31 8.46
2.229 8.409
2.219 8.401
2.215 8.396
2.153 8.334
2.149 8.329
2.147 8.325
2.144 8.32
2.105 8.259
2.104 8.258
2.1 8.252
2.097 8.247
2.094 8.241
2.067 8.161
2.064 8.155
2.062 8.149
2.061 8.145
2.061 8.144
2.06 8.138
2.06 8.134
2.051 8.052
2.05 8.047
2.05 7.989
2.061 7.894
2.061 7.891
2.062 7.887
2.064 7.881
2.067 7.876
2.067 7.875
2.092 7.803
2.093 7.8
2.095 7.796
2.097 7.79
2.101 7.784
2.104 7.779
2.106 7.777
2.141 7.722
2.141 7.721
2.144 7.716
2.147 7.71
2.15 7.705
2.154 7.7
2.222 7.632
2.227 7.628
2.233 7.624
2.238 7.621
2.239 7.621
2.301 7.582
2.31 7.576
2.318 7.572
2.328 7.569
2.398 7.545
2.404 7.542
2.41 7.54
2.414 7.539
2.415 7.539
2.421 7.538
2.425 7.538
2.506 7.529
2.512 7.528
3.553 7.528
3.601 7.523
3.63 7.513
3.664 7.492
3.687 7.469
3.707 7.438
3.719 7.405
3.723 7.372
3.719 7.334
3.708 7.3
3.688 7.268
3.664 7.244
3.635 7.225
3.601 7.213
3.562 7.208
2.512 7.208
2.506 7.207
2.427 7.198
2.421 7.197
2.414 7.197
2.412 7.196
2.41 7.196
2.401 7.193
2.398 7.191
2.33 7.167
2.322 7.166
2.31 7.16
2.229 7.109
2.219 7.101
2.215 7.096
2.153 7.034
2.149 7.029
2.147 7.025
2.144 7.02
2.105 6.959
2.104 6.958
2.1 6.952
2.097 6.947
2.094 6.941
2.067 6.861
2.064 6.855
2.062 6.849
2.061 6.845
2.061 6.844
2.06 6.838
2.06 6.834
2.051 6.752
2.05 6.747
2.05 6.689
2.061 6.594
2.061 6.591
2.062 6.587
2.064 6.581
2.067 6.576
2.067 6.575
2.092 6.503
2.093 6.5
2.095 6.496
2.097 6.49
2.101 6.484
2.104 6.479
2.106 6.477
2.141 6.422
2.141 6.421
2.144 6.416
2.147 6.41
2.15 6.405
2.154 6.4
2.222 6.332
2.227 6.328
2.233 6.324
2.238 6.321
2.239 6.321
2.301 6.282
2.31 6.276
2.318 6.272
2.328 6.269
2.398 6.245
2.404 6.242
2.41 6.24
2.414 6.239
2.415 6.239
2.421 6.238
2.425 6.238
2.506 6.229
2.512 6.228
2.716 6.228
2.766 6.223
2.792 6.214
2.827 6.192
2.853 6.166
2.869 6.141
2.882 6.105
2.887 6.066
2.887 5.755
2.858 5.726
2.848 5.731
2.828 5.74
2.807 5.746
2.785 5.751
2.763 5.753
2.741 5.753
2.719 5.751
2.697 5.746
2.676 5.74
2.656 5.731
2.636 5.721
2.618 5.709
2.601 5.695
2.585 5.679
2.571 5.662
2.559 5.644
2.549 5.624
2.54 5.604
2.534 5.583
2.529 5.561
2.527 5.539
2.527 5.517
2.529 5.495
2.534 5.473
2.54 5.452
2.549 5.432
2.559 5.412
2.571 5.394
2.585 5.377
2.601 5.361
2.618 5.347
2.636 5.335
2.656 5.325
2.676 5.316
2.697 5.31
2.719 5.305
2.741 5.303
2.763 5.303
2.785 5.305
2.807 5.31
2.828 5.316
2.848 5.325
2.868 5.335
2.886 5.347
2.903 5.361
2.919 5.377
2.933 5.394
2.945 5.412
2.955 5.432
2.964 5.452
2.97 5.473
2.975 5.495
2.977 5.517
2.977 5.539
2.975 5.561
2.97 5.583
2.964 5.604
2.955 5.624
2.95 5.634
3 5.684
3.004 5.689
3.008 5.695
3.011 5.7
3.015 5.712
3.016 5.718
3.017 5.725
3.017 6.072
3.011 6.129
3.005 6.147
3.003 6.15
2.995 6.174
2.995 6.176
2.994 6.18
2.99 6.192
2.987 6.198
2.957 6.246
2.953 6.251
2.948 6.256
2.943 6.26
2.911 6.292
2.906 6.296
2.901 6.299
2.867 6.321
2.866 6.322
2.861 6.325
2.855 6.329
2.849 6.331
2.845 6.333
2.842 6.333
2.8 6.348
2.796 6.35
2.79 6.352
2.783 6.352
2.777 6.353
2.774 6.353
2.743 6.356
2.731 6.358
2.513 6.358
2.44 6.367
2.37 6.392
2.306 6.432
2.257 6.481
2.212 6.552
2.188 6.622
2.18 6.695
2.18 6.745
2.189 6.819
2.213 6.887
2.252 6.949
2.309 7.006
2.37 7.044
2.443 7.069
2.518 7.078
3.568 7.078
3.625 7.084
3.643 7.09
3.645 7.092
3.669 7.1
3.673 7.101
3.675 7.101
3.687 7.105
3.693 7.108
3.741 7.138
3.746 7.142
3.788 7.184
3.792 7.189
3.795 7.194
3.817 7.229
3.82 7.234
3.824 7.239
3.826 7.244
3.829 7.25
3.83 7.257
3.841 7.289
3.842 7.292
3.844 7.295
3.846 7.301
3.846 7.303
3.847 7.305
3.847 7.308
3.853 7.356
3.854 7.359
3.854 7.372
3.848 7.429
3.842 7.447
3.84 7.45
3.83 7.48
3.827 7.49
3.823 7.498
3.793 7.546
3.789 7.551
3.748 7.592
3.743 7.596
3.738 7.599
3.702 7.622
3.697 7.625
3.693 7.628
3.692 7.629
3.691 7.629
3.685 7.631
3.682 7.633
3.678 7.634
3.675 7.634
3.637 7.648
3.632 7.65
3.626 7.652
3.619 7.652
3.613 7.653
3.611 7.653
3.58 7.656
3.568 7.658
2.513 7.658
2.44 7.667
2.37 7.692
2.306 7.732
2.257 7.781
2.212 7.852
2.188 7.922
2.18 7.995
2.18 8.045
2.189 8.119
2.213 8.187
2.252 8.249
2.309 8.306
2.37 8.344
2.443 8.369
2.518 8.378
3.568 8.378
3.625 8.384
3.643 8.39
3.645 8.392
3.669 8.4
3.673 8.401
3.675 8.401
3.687 8.405
3.693 8.408
3.741 8.438
3.746 8.442
3.788 8.484
3.792 8.489
3.795 8.494
3.817 8.529
3.82 8.534
3.824 8.539
3.826 8.544
3.829 8.55
3.83 8.557
3.841 8.589
3.842 8.592
3.844 8.595
3.846 8.601
3.846 8.603
3.847 8.605
3.847 8.608
3.853 8.656
3.854 8.659
3.854 8.672
3.848 8.729
3.842 8.747
3.84 8.75
3.83 8.78
3.827 8.79
3.823 8.798
3.793 8.846
3.789 8.851
3.748 8.892
3.743 8.896
3.738 8.899
3.702 8.922
3.697 8.925
3.693 8.928
3.692 8.929
3.691 8.929
3.685 8.931
3.682 8.933
3.678 8.934
3.675 8.934
3.637 8.948
3.632 8.95
3.626 8.952
3.619 8.952
3.613 8.953
3.611 8.953
3.58 8.956
3.568 8.958
3.35 8.958
3.276 8.967
3.208 8.991
3.143 9.032
3.091 9.084
3.051 9.148
3.025 9.222
3.017 9.295
3.017 26.632
7.05 30.665
7.054 30.67
7.058 30.676
7.061 30.681
7.065 30.693
7.066 30.699
7.067 30.706
7.067 31.811
7.066 31.818
7.065 31.824
7.063 31.83
7.061 31.835
7.061 31.836
7.058 31.841
7.054 31.847
7.05 31.852
7.04 31.862
7.045 31.872
7.054 31.892
7.06 31.913
7.065 31.935
7.067 31.957
7.067 31.979
7.065 32.001
7.06 32.023
7.054 32.044
7.045 32.064
7.035 32.084
7.023 32.102
7.009 32.119
6.993 32.135
6.976 32.149
6.958 32.161
6.938 32.171
6.918 32.18
6.897 32.186
6.875 32.191
6.853 32.193
6.831 32.193
END
10 552 5 V 5759 1 1 100 100 0 0 0 Y
TLAYNAM B.Cu_thick NOH
USER_DAT FromImport
7.351 32.193
7.329 32.191
7.307 32.186
7.286 32.18
7.266 32.171
7.246 32.161
7.228 32.149
7.211 32.135
7.195 32.119
7.181 32.102
7.169 32.084
7.159 32.064
7.15 32.044
7.144 32.023
7.139 32.001
7.137 31.979
7.137 31.957
7.139 31.935
7.144 31.913
7.15 31.892
7.159 31.872
7.164 31.862
7.163 31.861
7.158 31.857
7.146 31.842
7.143 31.836
7.139 31.824
7.137 31.812
7.137 30.654
3.104 26.621
3.1 26.616
3.096 26.61
3.093 26.605
3.093 26.604
3.091 26.599
3.089 26.593
3.088 26.587
3.087 26.58
3.087 9.314
3.089 9.302
3.092 9.271
3.092 9.268
3.093 9.262
3.093 9.255
3.095 9.249
3.097 9.245
3.112 9.203
3.112 9.2
3.114 9.196
3.116 9.19
3.12 9.184
3.123 9.179
3.124 9.178
3.146 9.144
3.149 9.139
3.153 9.134
3.185 9.102
3.189 9.097
3.194 9.092
3.199 9.088
3.247 9.058
3.253 9.055
3.265 9.051
3.269 9.05
3.271 9.05
3.295 9.042
3.298 9.04
3.316 9.034
3.373 9.028
3.586 9.028
3.661 9.019
3.734 8.994
3.795 8.956
3.852 8.899
3.891 8.837
3.915 8.769
3.924 8.695
3.924 8.645
3.916 8.572
3.892 8.502
3.847 8.431
3.798 8.382
3.734 8.342
3.664 8.317
3.591 8.308
2.536 8.308
2.524 8.306
2.493 8.303
2.491 8.303
2.485 8.302
2.478 8.302
2.472 8.3
2.467 8.298
2.429 8.284
2.426 8.284
2.422 8.283
2.419 8.281
2.413 8.279
2.412 8.279
2.411 8.278
2.407 8.275
2.402 8.272
2.366 8.249
2.361 8.246
2.356 8.242
2.315 8.201
2.311 8.196
2.281 8.148
2.277 8.14
2.274 8.13
2.263 8.1
2.256 8.079
2.25 8.022
2.25 8.009
2.251 8.006
2.257 7.958
2.257 7.955
2.258 7.953
2.258 7.951
2.26 7.945
2.262 7.942
2.263 7.939
2.274 7.907
2.275 7.9
2.278 7.894
2.28 7.889
2.284 7.884
2.287 7.879
2.309 7.844
2.312 7.839
2.316 7.834
2.358 7.792
2.363 7.788
2.411 7.758
2.417 7.755
2.429 7.751
2.431 7.751
2.458 7.742
2.461 7.74
2.479 7.734
2.536 7.728
3.586 7.728
3.661 7.719
3.734 7.694
3.795 7.656
3.852 7.599
3.891 7.537
3.915 7.469
3.924 7.395
3.924 7.345
3.916 7.272
3.892 7.202
3.847 7.131
3.798 7.082
3.734 7.042
3.664 7.017
3.591 7.008
2.536 7.008
2.524 7.006
2.493 7.003
2.491 7.003
2.485 7.002
2.478 7.002
2.472 7
2.467 6.998
2.429 6.984
2.426 6.984
2.422 6.983
2.419 6.981
2.413 6.979
2.412 6.979
2.411 6.978
2.407 6.975
2.402 6.972
2.366 6.949
2.361 6.946
2.356 6.942
2.315 6.901
2.311 6.896
2.281 6.848
2.277 6.84
2.274 6.83
2.263 6.8
2.256 6.779
2.25 6.722
2.25 6.709
2.251 6.706
2.257 6.658
2.257 6.655
2.258 6.653
2.258 6.651
2.26 6.645
2.262 6.642
2.263 6.639
2.274 6.607
2.275 6.6
2.278 6.594
2.28 6.589
2.284 6.584
2.287 6.579
2.309 6.544
2.312 6.539
2.316 6.534
2.358 6.492
2.363 6.488
2.411 6.458
2.417 6.455
2.429 6.451
2.431 6.451
2.458 6.442
2.461 6.44
2.479 6.434
2.536 6.428
2.75 6.428
2.823 6.42
2.897 6.394
2.961 6.354
3.013 6.302
3.054 6.237
3.078 6.169
3.087 6.096
3.087 5.725
3.088 5.718
3.089 5.712
3.093 5.7
3.096 5.695
3.1 5.689
3.104 5.684
3.154 5.634
3.149 5.624
3.14 5.604
3.134 5.583
3.129 5.561
3.127 5.539
3.127 5.517
3.129 5.495
3.134 5.473
3.14 5.452
3.149 5.432
3.159 5.412
3.171 5.394
3.185 5.377
3.201 5.361
3.218 5.347
3.236 5.335
3.256 5.325
3.276 5.316
3.297 5.31
3.319 5.305
3.341 5.303
3.363 5.303
3.385 5.305
3.407 5.31
3.428 5.316
3.448 5.325
3.468 5.335
3.486 5.347
3.503 5.361
3.519 5.377
3.533 5.394
3.545 5.412
3.555 5.432
3.564 5.452
3.57 5.473
3.575 5.495
3.577 5.517
3.577 5.539
3.575 5.561
3.57 5.583
3.564 5.604
3.555 5.624
3.545 5.644
3.533 5.662
3.519 5.679
3.503 5.695
3.486 5.709
3.468 5.721
3.448 5.731
3.428 5.74
3.407 5.746
3.385 5.751
3.363 5.753
3.341 5.753
3.319 5.751
3.297 5.746
3.276 5.74
3.256 5.731
3.246 5.726
3.217 5.755
3.217 6.097
3.207 6.184
3.207 6.188
3.206 6.194
3.206 6.195
3.205 6.199
3.203 6.205
3.2 6.211
3.173 6.291
3.17 6.297
3.167 6.302
3.163 6.308
3.162 6.309
3.124 6.369
3.124 6.37
3.121 6.375
3.117 6.381
3.113 6.386
3.045 6.454
3.04 6.458
3.035 6.461
3.034 6.461
3.029 6.464
2.966 6.504
2.961 6.507
2.957 6.51
2.945 6.516
2.937 6.517
2.87 6.541
2.869 6.541
2.864 6.544
2.858 6.546
2.854 6.547
2.851 6.547
2.756 6.558
2.538 6.558
2.503 6.563
2.469 6.575
2.44 6.594
2.416 6.618
2.396 6.65
2.385 6.684
2.381 6.722
2.385 6.755
2.397 6.788
2.417 6.819
2.44 6.842
2.474 6.863
2.503 6.873
2.551 6.878
3.592 6.878
3.598 6.879
3.679 6.888
3.683 6.888
3.689 6.889
3.69 6.889
3.694 6.89
3.7 6.892
3.706 6.895
3.776 6.919
3.786 6.922
3.794 6.926
3.803 6.932
3.865 6.971
3.866 6.971
3.871 6.974
3.877 6.978
3.882 6.982
3.95 7.05
3.954 7.055
3.957 7.06
3.96 7.066
3.963 7.071
3.963 7.072
3.998 7.127
4 7.129
4.003 7.134
4.007 7.14
4.009 7.146
4.011 7.15
4.012 7.153
4.037 7.225
4.037 7.226
4.04 7.231
4.042 7.237
4.042 7.241
4.043 7.242
4.043 7.244
4.054 7.339
4.054 7.397
4.053 7.402
4.044 7.484
4.044 7.488
4.043 7.494
4.043 7.495
4.042 7.499
4.04 7.505
4.037 7.511
4.01 7.591
4.007 7.597
4.004 7.602
4 7.608
3.999 7.609
3.96 7.67
3.957 7.675
3.955 7.679
3.951 7.684
3.889 7.746
3.885 7.751
3.875 7.759
3.794 7.81
3.782 7.816
3.774 7.817
3.706 7.841
3.703 7.843
3.694 7.846
3.692 7.846
3.69 7.847
3.683 7.847
3.677 7.848
3.598 7.857
3.592 7.858
2.542 7.858
2.503 7.863
2.469 7.875
2.44 7.894
2.416 7.918
2.396 7.95
2.385 7.984
2.381 8.022
2.385 8.055
2.397 8.088
2.417 8.119
2.44 8.142
2.474 8.163
2.503 8.173
2.551 8.178
3.592 8.178
3.598 8.179
3.679 8.188
3.683 8.188
3.689 8.189
3.69 8.189
3.694 8.19
3.7 8.192
3.706 8.195
3.776 8.219
3.786 8.222
3.794 8.226
3.803 8.232
3.865 8.271
3.866 8.271
3.871 8.274
3.877 8.278
3.882 8.282
3.95 8.35
3.954 8.355
3.957 8.36
3.96 8.366
3.963 8.371
3.963 8.372
3.998 8.427
4 8.429
4.003 8.434
4.007 8.44
4.009 8.446
4.011 8.45
4.012 8.453
4.037 8.525
4.037 8.526
4.04 8.531
4.042 8.537
4.042 8.541
4.043 8.542
4.043 8.544
4.054 8.639
4.054 8.697
4.053 8.702
4.044 8.784
4.044 8.788
4.043 8.794
4.043 8.795
4.042 8.799
4.04 8.805
4.037 8.811
4.01 8.891
4.007 8.897
4.004 8.902
4 8.908
3.999 8.909
3.96 8.97
3.957 8.975
3.955 8.979
3.951 8.984
3.889 9.046
3.885 9.051
3.875 9.059
3.794 9.11
3.782 9.116
3.774 9.117
3.706 9.141
3.703 9.143
3.694 9.146
3.692 9.146
3.69 9.147
3.683 9.147
3.677 9.148
3.598 9.157
3.592 9.158
3.379 9.158
3.34 9.163
3.304 9.176
3.279 9.192
3.253 9.218
3.231 9.253
3.222 9.279
3.217 9.329
3.217 26.55
7.25 30.583
7.254 30.588
7.258 30.594
7.261 30.599
7.265 30.611
7.266 30.617
7.267 30.624
7.267 31.765
7.286 31.756
7.307 31.75
7.329 31.745
7.351 31.743
7.373 31.743
7.395 31.745
7.417 31.75
7.438 31.756
7.458 31.765
7.478 31.775
7.496 31.787
7.513 31.801
7.529 31.817
7.543 31.834
7.555 31.852
7.565 31.872
7.574 31.892
7.58 31.913
7.585 31.935
7.587 31.957
7.587 31.979
7.585 32.001
7.58 32.023
7.574 32.044
7.565 32.064
7.555 32.084
7.543 32.102
7.529 32.119
7.513 32.135
7.496 32.149
7.478 32.161
7.458 32.171
7.438 32.18
7.417 32.186
7.395 32.191
7.373 32.193
7.351 32.193
END
10 97 5 N 5777 1 1 100 100 0 0 0 Y
TLAYNAM B.Cu_thick INH
USER_DAT FromImport
5.867 19.468
5.867 19.171
5.853 19.185
5.836 19.199
5.818 19.211
5.798 19.221
5.778 19.23
5.757 19.236
5.735 19.241
5.713 19.243
5.691 19.243
5.669 19.241
5.647 19.236
5.626 19.23
5.606 19.221
5.586 19.211
5.568 19.199
5.551 19.185
5.535 19.169
5.521 19.152
5.509 19.134
5.499 19.114
5.49 19.094
5.484 19.073
5.479 19.051
5.477 19.029
5.477 19.007
5.479 18.985
5.484 18.963
5.49 18.942
5.499 18.922
5.509 18.902
5.521 18.884
5.535 18.867
5.551 18.851
5.568 18.837
5.586 18.825
5.606 18.815
5.626 18.806
5.647 18.8
5.669 18.795
5.691 18.793
5.713 18.793
5.735 18.795
5.757 18.8
5.778 18.806
5.798 18.815
5.818 18.825
5.836 18.837
5.853 18.851
5.867 18.865
5.867 18.568
7.467 18.568
7.467 18.81
7.476 18.806
7.497 18.8
7.519 18.795
7.541 18.793
7.563 18.793
7.585 18.795
7.607 18.8
7.628 18.806
7.648 18.815
7.668 18.825
7.686 18.837
7.703 18.851
7.719 18.867
7.733 18.884
7.745 18.902
7.755 18.922
7.764 18.942
7.77 18.963
7.775 18.985
7.777 19.007
7.777 19.029
7.775 19.051
7.77 19.073
7.764 19.094
7.755 19.114
7.745 19.134
7.733 19.152
7.719 19.169
7.703 19.185
7.686 19.199
7.668 19.211
7.648 19.221
7.628 19.23
7.607 19.236
7.585 19.241
7.563 19.243
7.541 19.243
7.519 19.241
7.497 19.236
7.476 19.23
7.467 19.226
7.467 19.468
5.867 19.468
END
10 97 5 N 5778 1 1 100 100 0 0 0 Y
TLAYNAM B.Cu_thick INH
USER_DAT FromImport
5.867 16.368
5.867 16.071
5.853 16.085
5.836 16.099
5.818 16.111
5.798 16.121
5.778 16.13
5.757 16.136
5.735 16.141
5.713 16.143
5.691 16.143
5.669 16.141
5.647 16.136
5.626 16.13
5.606 16.121
5.586 16.111
5.568 16.099
5.551 16.085
5.535 16.069
5.521 16.052
5.509 16.034
5.499 16.014
5.49 15.994
5.484 15.973
5.479 15.951
5.477 15.929
5.477 15.907
5.479 15.885
5.484 15.863
5.49 15.842
5.499 15.822
5.509 15.802
5.521 15.784
5.535 15.767
5.551 15.751
5.568 15.737
5.586 15.725
5.606 15.715
5.626 15.706
5.647 15.7
5.669 15.695
5.691 15.693
5.713 15.693
5.735 15.695
5.757 15.7
5.778 15.706
5.798 15.715
5.818 15.725
5.836 15.737
5.853 15.751
5.867 15.765
5.867 15.468
7.467 15.468
7.467 15.71
7.476 15.706
7.497 15.7
7.519 15.695
7.541 15.693
7.563 15.693
7.585 15.695
7.607 15.7
7.628 15.706
7.648 15.715
7.668 15.725
7.686 15.737
7.703 15.751
7.719 15.767
7.733 15.784
7.745 15.802
7.755 15.822
7.764 15.842
7.77 15.863
7.775 15.885
7.777 15.907
7.777 15.929
7.775 15.951
7.77 15.973
7.764 15.994
7.755 16.014
7.745 16.034
7.733 16.052
7.719 16.069
7.703 16.085
7.686 16.099
7.668 16.111
7.648 16.121
7.628 16.13
7.607 16.136
7.585 16.141
7.563 16.143
7.541 16.143
7.519 16.141
7.497 16.136
7.476 16.13
7.467 16.126
7.467 16.368
5.867 16.368
END
END GEO
OPT
MAX 100
END OPT
VARSWP
ENABLED Y
FREQ Y AY ABS_ENTRY 0.001 8.0 -1 300 
END
END VARSWP
```
